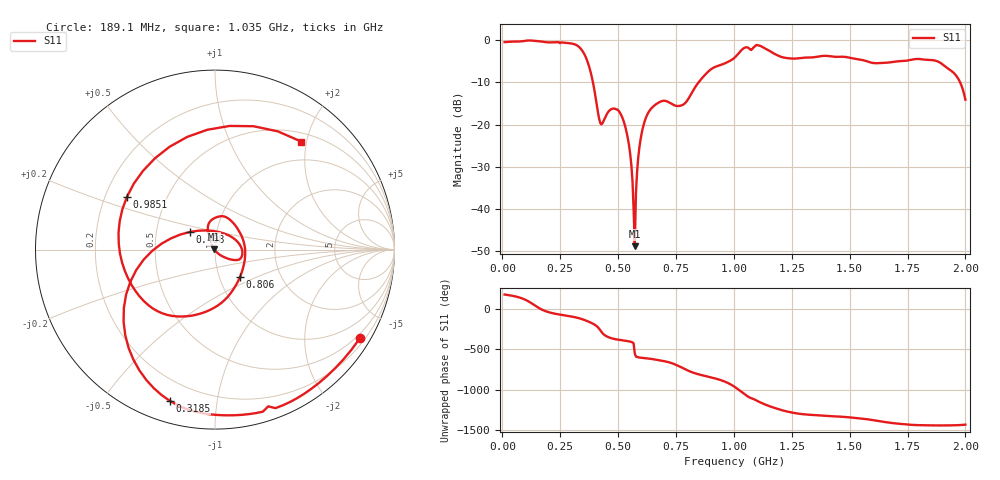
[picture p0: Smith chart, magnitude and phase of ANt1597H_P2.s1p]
!Created with skrf (http://scikit-rf.org).
# Hz S RI R 50.0
!freq ReS11 ImS11
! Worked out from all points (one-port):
!   401 points, 10 MHz to 2 GHz, reference 50 ohm
!   lowest |S11| = -48.8 dB at 572.2 MHz (marker M1), VSWR 1.01, Z = 49.6 + j0.0763 ohm
!   |S11| at or under -10 dB: 391.4 MHz to 847.7 MHz (456.3 MHz wide, 73.7 % of centre); 1.977 GHz to end of sweep
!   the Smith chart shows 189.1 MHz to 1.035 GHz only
!   S11 on the Smith chart (normalised r, x): 189.1 MHz: 0.37, -3.52; 318.4 MHz: 0.10, -0.74; 408 MHz: 0.74, +0.15; 806 MHz: 1.25, -0.40; 985.1 MHz: 0.29, +0.26; 1.035 GHz: 0.64, +1.91
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1e7  -0.946 0.0668
7.4675e7  -0.7267 0.6336
1.1945e8  0.1581 0.9792
1.54275e8  0.9362 0.2712
1.891e8  0.8075 -0.4931
2.5875e8  0.228 -0.9108
3.1845e8  -0.2526 -0.8422
3.63225e8  -0.5079 -0.3258
4.08e8  -0.1412 0.0982
5.075e8  0.1266 -0.0576
5.42325e8  0.053 -0.043
5.72175e8  -0.00354 0.000769
5.9705e8  -0.0298 0.0593
6.269e8  -0.0397 0.1265
7.5625e8  0.1551 0.0582
8.06e8  0.1391 -0.1531
9.10475e8  -0.3201 -0.343
9.851e8  -0.4902 0.2952
1.005e9  -0.2523 0.5734
1.03485e9  0.4814 0.6015
1.0647e9  0.7929 -0.1336
1.119425e9  0.1202 -0.8336
1.17415e9  -0.5421 -0.4291
1.25375e9  -0.5617 0.2248
1.5025e9  -0.1008 0.6088
1.75125e9  0.5632 0.1135
1.89055e9  0.5413 0.00366
2e9  0.1939 0.036
